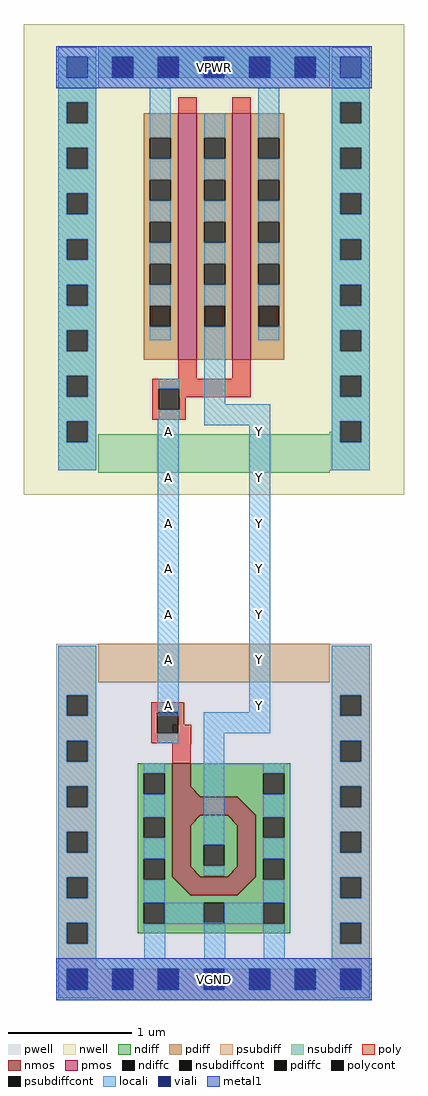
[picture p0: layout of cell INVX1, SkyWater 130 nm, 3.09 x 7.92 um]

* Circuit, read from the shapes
.subckt INVX1 Y A VPWR VGND
XM1 VGND A Y VGND sky130_fd_pr__nfet_01v8 w=2.555 l=0.1489
XM2 Y A VPWR VPWR sky130_fd_pr__pfet_01v8 w=2 l=0.15 m=2
.ends

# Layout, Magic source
magic
tech sky130A
magscale 1 2
<< nwell >>
rect 57 1463 91 1497
<< pwell >>
rect 57 -17 91 17
<< locali >>
rect 131 871 165 905
rect 279 871 313 905
rect 131 797 165 831
rect 279 797 313 831
rect 131 723 165 757
rect 279 723 313 757
rect 131 649 165 683
rect 279 649 313 683
rect 131 575 165 609
rect 279 575 313 609
rect 131 501 165 535
rect 279 501 313 535
rect 131 427 165 461
rect 279 427 313 461
<< metal1 >>
rect -34 1446 478 1514
rect -34 -34 478 34
use invx1_pcell  invx1_pcell_0 pcells
transform 1 0 0 0 1 0
box -87 -34 531 1550
<< labels >>
rlabel locali 279 649 313 683 1 Y
port 1 nsew signal output
rlabel locali 279 723 313 757 1 Y
port 1 nsew signal output
rlabel locali 279 797 313 831 1 Y
port 1 nsew signal output
rlabel locali 279 575 313 609 1 Y
port 1 nsew signal output
rlabel locali 279 871 313 905 1 Y
port 1 nsew signal output
rlabel locali 279 501 313 535 1 Y
port 1 nsew signal output
rlabel locali 279 427 313 461 1 Y
port 1 nsew signal output
rlabel locali 131 649 165 683 1 A
port 2 nsew signal input
rlabel locali 131 723 165 757 1 A
port 2 nsew signal input
rlabel locali 131 797 165 831 1 A
port 2 nsew signal input
rlabel locali 131 575 165 609 1 A
port 2 nsew signal input
rlabel locali 131 871 165 905 1 A
port 2 nsew signal input
rlabel locali 131 501 165 535 1 A
port 2 nsew signal input
rlabel locali 131 427 165 461 1 A
port 2 nsew signal input
rlabel metal1 -34 1446 478 1514 1 VPWR
port 3 nsew power bidirectional abutment
rlabel metal1 -34 -34 478 34 1 VGND
port 4 nsew ground bidirectional abutment
<< properties >>
string LEFsite unithd
string LEFclass CORE
string LEFsymmetry X Y R90
<< end >>

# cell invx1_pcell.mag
magic
tech sky130A
magscale 1 2
<< nwell >>
rect -87 786 531 1550
<< pwell >>
rect -34 -34 478 544
<< pdiffc >>
rect 118 1059 152 1093
rect 206 1059 240 1093
rect 294 1059 328 1093
<< psubdiff >>
rect 34 482 410 544
rect 31 -17 57 17
rect 91 -17 131 17
rect 165 -17 205 17
rect 239 -17 279 17
rect 313 -17 353 17
rect 387 -17 413 17
rect 31 -31 413 -17
rect 34 -34 410 -31
<< nsubdiff >>
rect 34 1497 410 1514
rect 34 1463 57 1497
rect 91 1463 131 1497
rect 165 1463 205 1497
rect 239 1463 279 1497
rect 313 1463 353 1497
rect 387 1463 410 1497
rect 410 884 413 888
rect 34 826 413 884
rect 34 822 410 826
<< psubdiffcont >>
rect 57 -17 91 17
rect 131 -17 165 17
rect 205 -17 239 17
rect 279 -17 313 17
rect 353 -17 387 17
<< nsubdiffcont >>
rect 57 1463 91 1497
rect 131 1463 165 1497
rect 205 1463 239 1497
rect 279 1463 313 1497
rect 353 1463 387 1497
<< poly >>
rect 155 381 185 413
<< locali >>
rect 34 1497 410 1514
rect 34 1463 57 1497
rect 91 1463 131 1497
rect 165 1463 205 1497
rect 239 1463 279 1497
rect 313 1463 353 1497
rect 387 1463 410 1497
rect 34 1446 410 1463
rect 118 1093 152 1111
rect 118 1037 152 1059
rect 206 1093 240 1111
rect 206 933 240 1059
rect 294 1093 328 1111
rect 294 1037 328 1059
rect 131 449 165 908
rect 206 899 313 933
rect 279 433 313 899
rect 205 399 313 433
rect 205 233 239 399
rect 109 34 143 90
rect 206 34 240 91
rect 303 34 337 90
rect 34 31 410 34
rect 31 17 413 31
rect 31 -17 57 17
rect 91 -17 131 17
rect 165 -17 205 17
rect 239 -17 279 17
rect 313 -17 353 17
rect 387 -17 413 17
rect 31 -31 413 -17
rect 34 -34 410 -31
<< viali >>
rect 57 1463 91 1497
rect 131 1463 165 1497
rect 205 1463 239 1497
rect 279 1463 313 1497
rect 353 1463 387 1497
rect 57 -17 91 17
rect 131 -17 165 17
rect 205 -17 239 17
rect 279 -17 313 17
rect 353 -17 387 17
<< metal1 >>
rect 34 1497 410 1514
rect 34 1463 57 1497
rect 91 1463 131 1497
rect 165 1463 205 1497
rect 239 1463 279 1497
rect 313 1463 353 1497
rect 387 1463 410 1497
rect 34 1446 410 1463
rect 34 31 410 34
rect 31 17 413 31
rect 31 -17 57 17
rect 91 -17 131 17
rect 165 -17 205 17
rect 239 -17 279 17
rect 313 -17 353 17
rect 387 -17 413 17
rect 31 -31 413 -17
rect 34 -34 410 -31
use diff_ring_side  diff_ring_side_1
transform 1 0 0 0 1 0
box -87 -34 87 1550
use diff_ring_side  diff_ring_side_0
transform 1 0 444 0 1 0
box -87 -34 87 1550
use poly_li1_contact  poly_li1_contact_1
transform 0 -1 147 1 0 416
box -32 -28 34 26
use nmos_top  nmos_top_0
transform -1 0 345 0 1 74
box 0 0 246 308
use pmos2  pmos2_0
transform 1 0 20 0 1 1404
box 52 -461 352 42
use poly_li1_contact  poly_li1_contact_0
transform 0 1 149 -1 0 941
box -32 -28 34 26
<< end >>

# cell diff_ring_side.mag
magic
tech sky130
magscale 1 2
<< nwell >>
rect -84 790 84 1533
<< pwell >>
rect -31 -31 31 541
<< psubdiff >>
rect -31 461 31 541
rect -31 427 -17 461
rect 17 427 31 461
rect -31 387 31 427
rect -31 353 -17 387
rect 17 353 31 387
rect -31 313 31 353
rect -31 279 -17 313
rect 17 279 31 313
rect -31 239 31 279
rect -31 205 -17 239
rect 17 205 31 239
rect -31 165 31 205
rect -31 131 -17 165
rect 17 131 31 165
rect -31 91 31 131
rect -31 57 -17 91
rect 17 57 31 91
rect -31 17 31 57
rect -31 -17 -17 17
rect 17 -17 31 17
rect -31 -31 31 -17
<< nsubdiff >>
rect -31 1423 31 1497
rect -31 1389 -17 1423
rect 17 1389 31 1423
rect -31 1349 31 1389
rect -31 1315 -17 1349
rect 17 1315 31 1349
rect -31 1275 31 1315
rect -31 1241 -17 1275
rect 17 1241 31 1275
rect -31 1201 31 1241
rect -31 1167 -17 1201
rect 17 1167 31 1201
rect -31 1127 31 1167
rect -31 1093 -17 1127
rect 17 1093 31 1127
rect -31 1053 31 1093
rect -31 1019 -17 1053
rect 17 1019 31 1053
rect -31 979 31 1019
rect -31 945 -17 979
rect 17 945 31 979
rect -31 905 31 945
rect -31 871 -17 905
rect 17 871 31 905
rect -31 826 31 871
<< psubdiffcont >>
rect -17 427 17 461
rect -17 353 17 387
rect -17 279 17 313
rect -17 205 17 239
rect -17 131 17 165
rect -17 57 17 91
rect -17 -17 17 17
<< nsubdiffcont >>
rect -17 1389 17 1423
rect -17 1315 17 1349
rect -17 1241 17 1275
rect -17 1167 17 1201
rect -17 1093 17 1127
rect -17 1019 17 1053
rect -17 945 17 979
rect -17 871 17 905
<< locali >>
rect -31 1497 31 1512
rect -31 1463 -17 1497
rect 17 1463 31 1497
rect -31 1423 31 1463
rect -31 1389 -17 1423
rect 17 1389 31 1423
rect -31 1349 31 1389
rect -31 1315 -17 1349
rect 17 1315 31 1349
rect -31 1275 31 1315
rect -31 1241 -17 1275
rect 17 1241 31 1275
rect -31 1201 31 1241
rect -31 1167 -17 1201
rect 17 1167 31 1201
rect -31 1127 31 1167
rect -31 1093 -17 1127
rect 17 1093 31 1127
rect -31 1053 31 1093
rect -31 1019 -17 1053
rect 17 1019 31 1053
rect -31 979 31 1019
rect -31 945 -17 979
rect 17 945 31 979
rect -31 905 31 945
rect -31 871 -17 905
rect 17 871 31 905
rect -31 826 31 871
rect -31 461 31 541
rect -31 427 -17 461
rect 17 427 31 461
rect -31 387 31 427
rect -31 353 -17 387
rect 17 353 31 387
rect -31 313 31 353
rect -31 279 -17 313
rect 17 279 31 313
rect -31 239 31 279
rect -31 205 -17 239
rect 17 205 31 239
rect -31 165 31 205
rect -31 131 -17 165
rect 17 131 31 165
rect -31 91 31 131
rect -31 57 -17 91
rect 17 57 31 91
rect -31 17 31 57
rect -31 -17 -17 17
rect 17 -17 31 17
rect -31 -31 31 -17
<< viali >>
rect -17 1463 17 1497
rect -17 -17 17 17
<< metal1 >>
rect -31 1497 31 1512
rect -31 1463 -17 1497
rect 17 1463 31 1497
rect -31 1450 31 1463
rect -31 17 31 31
rect -31 -17 -17 17
rect 17 -17 31 17
rect -31 -31 31 -17
<< end >>

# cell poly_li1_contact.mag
magic
tech sky130A
magscale 1 2
<< poly >>
rect -33 17 33 27
rect -33 -17 -17 17
rect 17 -17 33 17
rect -33 -27 33 -17
<< polycont >>
rect -17 -17 17 17
<< locali >>
rect -33 -17 -17 17
rect 17 -17 33 17
<< end >>

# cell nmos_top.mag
magic
tech sky130A
magscale 1 2
<< nmos >>
tri 145 222 161 238 se
rect 161 222 191 276
tri 55 192 85 222 se
rect 85 192 191 222
rect 55 92 85 192
tri 85 176 101 192 nw
tri 145 176 161 192 ne
tri 85 92 101 108 sw
tri 145 92 161 108 se
rect 161 92 191 192
tri 55 62 85 92 ne
rect 85 62 161 92
tri 161 62 191 92 nw
<< ndiff >>
rect -1 260 161 276
rect -1 226 9 260
rect 43 238 161 260
rect 43 226 145 238
rect -1 222 145 226
tri 145 222 161 238 nw
rect 191 260 247 276
rect 191 226 203 260
rect 237 226 247 260
rect -1 189 55 222
tri 55 192 85 222 nw
rect -1 155 9 189
rect 43 155 55 189
rect -1 121 55 155
rect -1 87 9 121
rect 43 87 55 121
tri 85 176 101 192 se
rect 101 176 145 192
tri 145 176 161 192 sw
rect 85 144 161 176
rect 85 110 106 144
rect 140 110 161 144
rect 85 108 161 110
tri 85 92 101 108 ne
rect 101 92 145 108
tri 145 92 161 108 nw
rect 191 189 247 226
rect 191 155 203 189
rect 237 155 247 189
rect 191 121 247 155
rect -1 62 55 87
tri 55 62 85 92 sw
tri 161 62 191 92 se
rect 191 87 203 121
rect 237 87 247 121
rect 191 62 247 87
rect -1 50 247 62
rect -1 16 9 50
rect 43 16 106 50
rect 140 16 203 50
rect 237 16 247 50
rect -1 0 247 16
<< ndiffc >>
rect 9 226 43 260
rect 203 226 237 260
rect 9 155 43 189
rect 9 87 43 121
rect 106 110 140 144
rect 203 155 237 189
rect 203 87 237 121
rect 9 16 43 50
rect 106 16 140 50
rect 203 16 237 50
<< poly >>
rect 161 276 191 309
<< locali >>
rect 9 260 43 276
rect 9 189 43 226
rect 203 260 237 276
rect 203 189 237 226
rect 9 121 43 155
rect 106 144 140 160
rect 106 94 140 110
rect 203 121 237 155
rect 9 50 43 87
rect 203 50 237 87
rect 43 16 106 50
rect 140 16 203 50
rect 9 0 43 16
rect 203 0 237 16
<< end >>

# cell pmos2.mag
magic
tech sky130A
magscale 1 2
<< nwell >>
rect 52 -435 352 37
<< pmos >>
rect 144 -399 174 1
rect 232 -399 262 1
<< pdiff >>
rect 88 -39 144 1
rect 88 -73 98 -39
rect 132 -73 144 -39
rect 88 -107 144 -73
rect 88 -141 98 -107
rect 132 -141 144 -107
rect 88 -175 144 -141
rect 88 -209 98 -175
rect 132 -209 144 -175
rect 88 -243 144 -209
rect 88 -277 98 -243
rect 132 -277 144 -243
rect 88 -399 144 -277
rect 174 -39 232 1
rect 174 -73 186 -39
rect 220 -73 232 -39
rect 174 -107 232 -73
rect 174 -141 186 -107
rect 220 -141 232 -107
rect 174 -175 232 -141
rect 174 -209 186 -175
rect 220 -209 232 -175
rect 174 -243 232 -209
rect 174 -277 186 -243
rect 220 -277 232 -243
rect 174 -399 232 -277
rect 262 -39 316 1
rect 262 -73 274 -39
rect 308 -73 316 -39
rect 262 -107 316 -73
rect 262 -141 274 -107
rect 308 -141 316 -107
rect 262 -175 316 -141
rect 262 -209 274 -175
rect 308 -209 316 -175
rect 262 -243 316 -209
rect 262 -277 274 -243
rect 308 -277 316 -243
rect 262 -399 316 -277
<< pdiffc >>
rect 98 -73 132 -39
rect 98 -141 132 -107
rect 98 -209 132 -175
rect 98 -277 132 -243
rect 186 -73 220 -39
rect 186 -141 220 -107
rect 186 -209 220 -175
rect 186 -277 220 -243
rect 274 -73 308 -39
rect 274 -141 308 -107
rect 274 -209 308 -175
rect 274 -277 308 -243
<< poly >>
rect 144 1 174 27
rect 232 1 262 27
rect 144 -430 174 -399
rect 232 -430 262 -399
rect 144 -460 262 -430
<< locali >>
rect 98 -39 132 42
rect 98 -107 132 -73
rect 98 -175 132 -141
rect 98 -243 132 -209
rect 98 -293 132 -277
rect 186 -39 220 1
rect 186 -107 220 -73
rect 186 -175 220 -141
rect 186 -243 220 -209
rect 186 -293 220 -277
rect 274 -39 308 42
rect 274 -107 308 -73
rect 274 -175 308 -141
rect 274 -243 308 -209
rect 274 -293 308 -277
<< end >>
